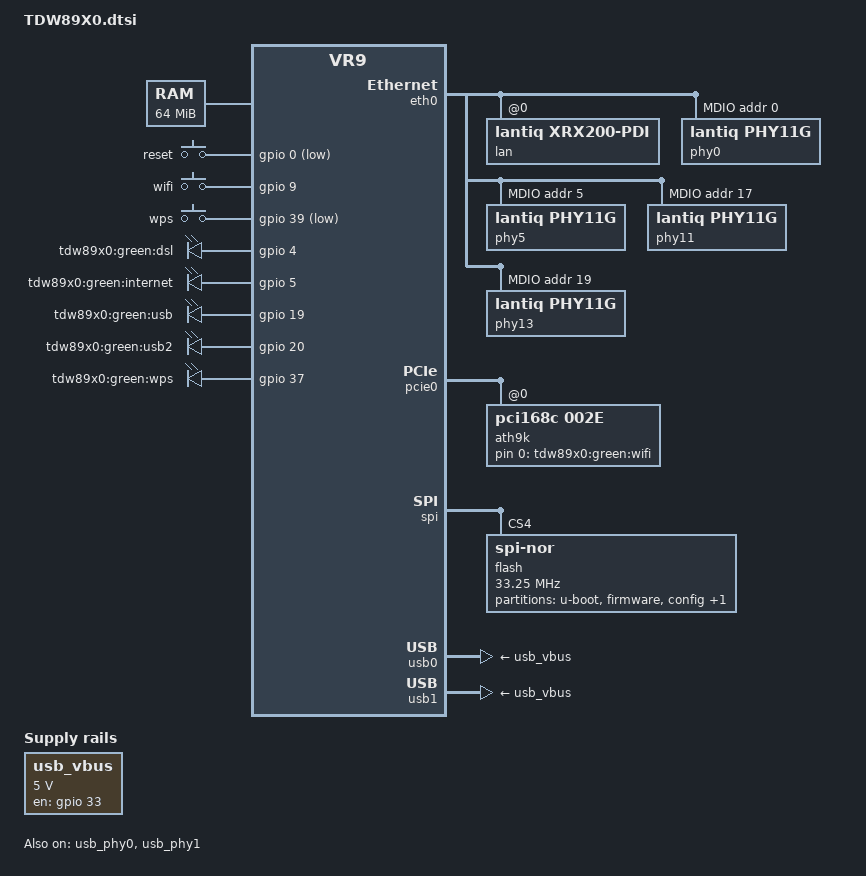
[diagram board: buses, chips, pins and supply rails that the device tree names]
#include "vr9.dtsi"

#include <dt-bindings/input/input.h>
#include <dt-bindings/mips/lantiq_rcu_gphy.h>

/ {
	compatible = "tplink,tdw89x0", "lantiq,xway", "lantiq,vr9";

	chosen {
		bootargs = "console=ttyLTQ0,115200";
	};

	aliases {
		/* the power led can't be controlled, use the wps led instead */
		led-boot = &wps;
		led-failsafe = &wps;

		led-dsl = &dsl;
		led-internet = &internet;
		led-wifi = &wifi;
		led-usb = &led_usb0;
		led-usb2 = &led_usb2;
	};

	memory@0 {
		device_type = "memory";
		reg = <0x0 0x4000000>;
	};

	keys {
		compatible = "gpio-keys-polled";
		poll-interval = <100>;
		reset {
			label = "reset";
			gpios = <&gpio 0 GPIO_ACTIVE_LOW>;
			linux,code = <KEY_RESTART>;
		};

		wifi {
			label = "wifi";
			gpios = <&gpio 9 GPIO_ACTIVE_HIGH>;
			linux,code = <KEY_RFKILL>;
			linux,input-type = <EV_SW>;
		};

		wps {
			label = "wps";
			gpios = <&gpio 39 GPIO_ACTIVE_LOW>;
			linux,code = <KEY_WPS_BUTTON>;
		};
	};

	gpio-leds {
		compatible = "gpio-leds";
		/*
			power is not controllable via gpio
		*/
		dsl: dsl {
			label = "tdw89x0:green:dsl";
			gpios = <&gpio 4 GPIO_ACTIVE_HIGH>;
		};
		internet: internet {
			label = "tdw89x0:green:internet";
			gpios = <&gpio 5 GPIO_ACTIVE_HIGH>;
		};

		led_usb0: usb0 {
			label = "tdw89x0:green:usb";
			gpios = <&gpio 19 GPIO_ACTIVE_HIGH>;
		};
		led_usb2: usb2 {
			label = "tdw89x0:green:usb2";
			gpios = <&gpio 20 GPIO_ACTIVE_HIGH>;
		};
		wps: wps {
			label = "tdw89x0:green:wps";
			gpios = <&gpio 37 GPIO_ACTIVE_HIGH>;
		};
	};

	wifi-leds {
		compatible = "gpio-leds";

		wifi: wifi {
			label = "tdw89x0:green:wifi";
			gpios = <&ath9k 0 GPIO_ACTIVE_HIGH>;
			linux,default-trigger = "phy0tpt";
		};
	};


	usb_vbus: regulator-usb-vbus {
		compatible = "regulator-fixed";

		regulator-name = "USB_VBUS";

		regulator-min-microvolt = <5000000>;
		regulator-max-microvolt = <5000000>;

		gpio = <&gpio 33 GPIO_ACTIVE_HIGH>;
		enable-active-high;
	};
};

&eth0 {
	lan: interface@0 {
		compatible = "lantiq,xrx200-pdi";
		#address-cells = <1>;
		#size-cells = <0>;
		reg = <0>;
		mtd-mac-address = <&ath9k_cal 0xf100>;
		lantiq,switch;

		ethernet@0 {
			compatible = "lantiq,xrx200-pdi-port";
			reg = <0>;
			phy-mode = "rgmii";
			phy-handle = <&phy0>;
			// gpios = <&gpio 42 GPIO_ACTIVE_LOW>;
		};
		ethernet@5 {
			compatible = "lantiq,xrx200-pdi-port";
			reg = <5>;
			phy-mode = "rgmii";
			phy-handle = <&phy5>;
		};
		ethernet@2 {
			compatible = "lantiq,xrx200-pdi-port";
			reg = <2>;
			phy-mode = "gmii";
			phy-handle = <&phy11>;
		};
		ethernet@3 {
			compatible = "lantiq,xrx200-pdi-port";
			reg = <4>;
			phy-mode = "gmii";
			phy-handle = <&phy13>;
		};
	};

	mdio {
		#address-cells = <1>;
		#size-cells = <0>;
		compatible = "lantiq,xrx200-mdio";

		phy0: ethernet-phy@0 {
			reg = <0x0>;
			compatible = "lantiq,phy11g", "ethernet-phy-ieee802.3-c22";
		};
		phy5: ethernet-phy@5 {
			reg = <0x5>;
			compatible = "lantiq,phy11g", "ethernet-phy-ieee802.3-c22";
		};
		phy11: ethernet-phy@11 {
			reg = <0x11>;
			compatible = "lantiq,phy11g", "ethernet-phy-ieee802.3-c22";
		};
		phy13: ethernet-phy@13 {
			reg = <0x13>;
			compatible = "lantiq,phy11g", "ethernet-phy-ieee802.3-c22";
		};
	};
};

&gphy0 {
	lantiq,gphy-mode = <GPHY_MODE_GE>;
};

&gphy1 {
	lantiq,gphy-mode = <GPHY_MODE_GE>;
};

&gpio {
	pinctrl-names = "default";
	pinctrl-0 = <&state_default>;

	state_default: pinmux {
		mdio {
			lantiq,groups = "mdio";
			lantiq,function = "mdio";
		};
		gphy-leds {
			lantiq,groups = "gphy0 led1", "gphy1 led1";
			lantiq,function = "gphy";
			lantiq,pull = <2>;
			lantiq,open-drain = <0>;
			lantiq,output = <1>;
		};
		phy-rst {
			lantiq,pins = "io42";
			lantiq,pull = <0>;
			lantiq,open-drain = <0>;
			lantiq,output = <1>;
		};
		pcie-rst {
			lantiq,pins = "io38";
			lantiq,pull = <0>;
			lantiq,output = <1>;
		};
	};
	pins_spi_default: pins_spi_default {
		spi_in {
			lantiq,groups = "spi_di";
			lantiq,function = "spi";
		};
		spi_out {
			lantiq,groups = "spi_do", "spi_clk",
				"spi_cs4";
			lantiq,function = "spi";
			lantiq,output = <1>;
		};
	};
};

&pcie0 {
	pcie@0 {
		reg = <0 0 0 0 0>;
		#interrupt-cells = <1>;
		#size-cells = <2>;
		#address-cells = <3>;
		device_type = "pci";

		ath9k: wifi@168c,002e {
			compatible = "pci168c,002e";
			reg = <0 0 0 0 0>;
			#gpio-cells = <2>;
			gpio-controller;
			qca,no-eeprom;
			qca,disable-5ghz;
			mtd-mac-address = <&ath9k_cal 0xf100>;
			mtd-mac-address-increment = <2>;
		};
	};
};

&spi {
	status = "okay";

	pinctrl-names = "default";
	pinctrl-0 = <&pins_spi_default>;

	flash@4 {
		compatible = "jedec,spi-nor";
		reg = <4>;
		spi-max-frequency = <33250000>;
		m25p,fast-read;

		partitions {
			compatible = "fixed-partitions";
			#address-cells = <1>;
			#size-cells = <1>;

			partition@0 {
				reg = <0x0 0x20000>;
				label = "u-boot";
				read-only;
			};

			partition@20000 {
				reg = <0x20000 0x7a0000>;
				label = "firmware";
			};

			partition@7c0000 {
				reg = <0x7c0000 0x10000>;
				label = "config";
				read-only;
			};

			ath9k_cal: partition@7d0000 {
				reg = <0x7d0000 0x30000>;
				label = "boardconfig";
				read-only;
			};
		};
	};
};

&usb_phy0 {
	status = "okay";
};

&usb_phy1 {
	status = "okay";
};

&usb0 {
	status = "okay";
	vbus-supply = <&usb_vbus>;
};

&usb1 {
	status = "okay";
	vbus-supply = <&usb_vbus>;
};
